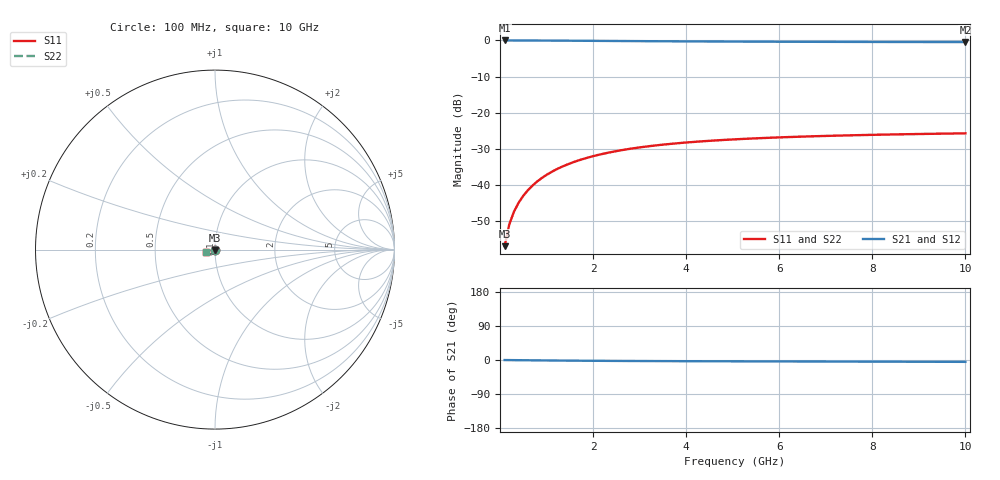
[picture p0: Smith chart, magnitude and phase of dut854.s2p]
! Touchstone file exported from HFSS 2024.1.0
!  File:  C:/UserFiles/LocalFiles/RDL_TSV_Batchsim/temp_TSV1_854_1779881244.aedt
!  Generated:  07:34:21 PM May 27, 2026
!  Design:  TSV1
!  Project:  temp_TSV1_854_1779881244
!  Setup:  Setup1
!  Solution:  Sweep
! Variables:
!  dtsv = 12.11um
!  hbump = 3um
!  htsv = 75.43um
!  lrdl = 252.1521522um
!  p = 40
!  p1 = 46.81um
!  t = 500um
!  trdl = 3um
!  wrdl = 24.89489489um
# GHz S MA R 50.000000
! Terminal data exported
! Port[1] = TSV22_T1
! Port[2] = TSV22_T2
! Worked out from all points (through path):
!   100 points, 100 MHz to 10 GHz, reference 50 ohm
!   highest |S21| = 0.00 dB at 100 MHz (marker M1); lowest = -0.5 dB at 10 GHz (marker M2)
!   lowest |S11| = -57.0 dB at 100 MHz (marker M3), VSWR 1.00, Z = 50 - j0.142 ohm
!   |S11| at or under -10 dB: start of sweep to end of sweep
!   |S22| runs from -57.0 to -25.7 dB; largest |S21 - S12| = 7e-15
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0.1  0.001416 -87.7  0.9999 -0.1  0.9999 -0.1  0.001416 -87.7
! Gamma 0 0 0 0
! Port Impedance 50 0 50 0
0.2  0.002829 -91.1  0.9997 -0.2  0.9997 -0.2  0.002829 -91.1
0.3  0.004241 -93.3  0.9995 -0.4  0.9995 -0.4  0.004241 -93.3
0.4  0.005648 -95.2  0.9992 -0.5  0.9992 -0.5  0.005648 -95.2
0.5  0.007045 -97.0  0.9988 -0.6  0.9988 -0.6  0.007045 -97.0
0.6  0.008427 -98.8  0.9984 -0.7  0.9984 -0.7  0.008427 -98.8
0.7  0.009791 -100.5  0.9979 -0.8  0.9979 -0.8  0.009791 -100.5
0.8  0.01113 -102.1  0.9973 -1.0  0.9973 -1.0  0.01113 -102.1
0.9  0.01245 -103.8  0.9967 -1.1  0.9967 -1.1  0.01245 -103.8
1.1  0.01501 -106.9  0.9953 -1.3  0.9953 -1.3  0.01501 -106.9
1.4  0.01862 -111.4  0.9929 -1.6  0.9929 -1.6  0.01862 -111.4
1.6  0.02086 -114.2  0.9912 -1.8  0.9912 -1.8  0.02086 -114.2
1.8  0.02298 -116.9  0.9894 -1.9  0.9894 -1.9  0.02298 -116.9
2.1  0.0259 -120.7  0.9866 -2.2  0.9866 -2.2  0.0259 -120.7
2.5  0.02934 -125.4  0.9829 -2.4  0.9829 -2.4  0.02934 -125.4
2.9  0.03232 -129.5  0.9794 -2.6  0.9794 -2.6  0.03232 -129.5
3.4  0.03549 -134.2  0.9753 -2.9  0.9753 -2.9  0.03549 -134.2
4.2  0.0395 -140.5  0.9695 -3.2  0.9695 -3.2  0.0395 -140.5
5.1  0.04288 -146.3  0.9643 -3.5  0.9643 -3.5  0.04288 -146.3
6.7  0.04702 -154.4  0.9575 -4.0  0.9575 -4.0  0.04702 -154.4
8.4  0.04987 -160.9  0.9526 -4.5  0.9526 -4.5  0.04987 -160.9
10  0.0517 -165.8  0.9493 -4.9  0.9493 -4.9  0.0517 -165.8
